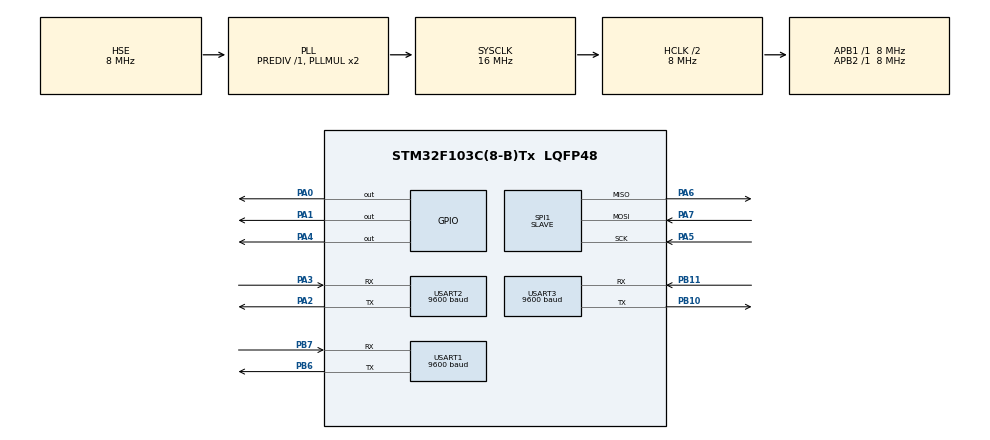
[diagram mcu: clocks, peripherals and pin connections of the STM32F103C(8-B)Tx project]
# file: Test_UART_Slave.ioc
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Mcu.Family=STM32F1
Mcu.Name=STM32F103C(8-B)Tx
Mcu.Package=LQFP48
NVIC.PriorityGroup=NVIC_PRIORITYGROUP_4
NVIC.SPI1_IRQn=true\:0\:0\:false\:false\:true\:true\:true\:true
NVIC.USART1_IRQn=true\:0\:0\:false\:false\:true\:true\:true\:true
NVIC.USART2_IRQn=true\:1\:0\:true\:false\:true\:true\:true\:true
NVIC.USART3_IRQn=true\:2\:0\:true\:false\:true\:true\:true\:true
PA0-WKUP.Signal=GPIO_Output
PA1.Signal=GPIO_Output
PA13.Mode=Serial_Wire
PA13.Signal=SYS_JTMS-SWDIO
PA14.Mode=Serial_Wire
PA14.Signal=SYS_JTCK-SWCLK
PA2.Mode=Asynchronous
PA2.Signal=USART2_TX
PA3.Mode=Asynchronous
PA3.Signal=USART2_RX
PA4.Signal=GPIO_Output
PA5.Mode=Full_Duplex_Slave
PA5.Signal=SPI1_SCK
PA6.Mode=Full_Duplex_Slave
PA6.Signal=SPI1_MISO
PA7.Mode=Full_Duplex_Slave
PA7.Signal=SPI1_MOSI
PB10.Mode=Asynchronous
PB10.Signal=USART3_TX
PB11.Mode=Asynchronous
PB11.Signal=USART3_RX
PB6.Mode=Asynchronous
PB6.Signal=USART1_TX
PB7.Mode=Asynchronous
PB7.Signal=USART1_RX
PD0-OSC_IN.Mode=HSE-External-Oscillator
PD0-OSC_IN.Signal=RCC_OSC_IN
PD1-OSC_OUT.Mode=HSE-External-Oscillator
PD1-OSC_OUT.Signal=RCC_OSC_OUT
ProjectManager.HeapSize=0x200
ProjectManager.StackSize=0x400
ProjectManager.TargetToolchain=STM32CubeIDE
RCC.AHBCLKDivider=RCC_SYSCLK_DIV2
RCC.AHBFreq_Value=8000000
RCC.APB1Freq_Value=8000000
RCC.APB1TimFreq_Value=8000000
RCC.APB2Freq_Value=8000000
RCC.APB2TimFreq_Value=8000000
RCC.HCLKFreq_Value=8000000
RCC.PLLSourceVirtual=RCC_PLLSOURCE_HSE
RCC.SYSCLKFreq_VALUE=16000000
RCC.SYSCLKSource=RCC_SYSCLKSOURCE_PLLCLK
RCC.USBFreq_Value=16000000
SPI1.Direction=SPI_DIRECTION_2LINES
SPI1.Mode=SPI_MODE_SLAVE
SPI1.VirtualType=VM_SLAVE
USART1.BaudRate=9600
USART1.VirtualMode=VM_ASYNC
USART2.BaudRate=9600
USART2.VirtualMode=VM_ASYNC
USART3.BaudRate=9600
USART3.VirtualMode=VM_ASYNC
board=custom

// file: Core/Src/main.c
/* USER CODE BEGIN Header */
/**
 ******************************************************************************
 * @file           : main.c
 * @brief          : Main program body
 ******************************************************************************
 * @attention
 *
 * Copyright (c) 2023 STMicroelectronics.
 * All rights reserved.
 *
 * This software is licensed under terms that can be found in the LICENSE file
 * in the root directory of this software component.
 * If no LICENSE file comes with this software, it is provided AS-IS.
 *
 ******************************************************************************
 */
/* USER CODE END Header */
#include "main.h"

/* USER CODE BEGIN Includes */
uint8_t USART1_RECIEVED_DATA = 255 ;
uint8_t USART2_RECIEVED_DATA = 255 ;
uint8_t USART3_RECIEVED_DATA = 255 ;
uint8_t SPI_Received_Data = 'a' ;

/* USER CODE END Includes */

SPI_HandleTypeDef hspi1;

UART_HandleTypeDef huart1;
UART_HandleTypeDef huart2;
UART_HandleTypeDef huart3;

void SystemClock_Config(void);
static void MX_GPIO_Init(void);
static void MX_USART1_UART_Init(void);
static void MX_USART2_UART_Init(void);
static void MX_USART3_UART_Init(void);
static void MX_SPI1_Init(void);
/* USER CODE BEGIN PFP */
void HAL_UART_RxCpltCallback(UART_HandleTypeDef *huart)
{
	if (huart->Instance == USART1)
	{
		HAL_UART_Receive_IT(&huart1, &USART1_RECIEVED_DATA, 1);
		HAL_GPIO_TogglePin(GPIOA, GPIO_PIN_0);
		HAL_UART_Transmit(&huart1, &USART1_RECIEVED_DATA , 1, 50);
	}
	else if (huart->Instance == USART2)
	{
		HAL_UART_Receive_IT(&huart2, &USART2_RECIEVED_DATA, 1);
		HAL_GPIO_TogglePin(GPIOA, GPIO_PIN_1);
		HAL_UART_Transmit(&huart1, &USART2_RECIEVED_DATA , 1, 50);
	}
	else if (huart->Instance == USART3)
	{
		HAL_UART_Receive_IT(&huart3, &USART3_RECIEVED_DATA, 1);
		HAL_GPIO_TogglePin(GPIOA, GPIO_PIN_4);
		HAL_UART_Transmit(&huart3, &USART3_RECIEVED_DATA , 1, 50);
	}
}
/* USER CODE END PFP */

void HAL_SPI_RxCpltCallback(SPI_HandleTypeDef *hspi)
{
  if (hspi->Instance == SPI1)
  {
	  HAL_SPI_Receive_IT(&hspi1, &SPI_Received_Data, 1);
	  HAL_GPIO_TogglePin(GPIOA, GPIO_PIN_0);
	  HAL_UART_Transmit(&huart1, &SPI_Received_Data , 1, 50);
  }
}

int main(void)
{

  /* MCU Configuration--------------------------------------------------------*/

  /* Reset of all peripherals, Initializes the Flash interface and the Systick. */
  HAL_Init();

  /* Configure the system clock */
  SystemClock_Config();

  /* Initialize all configured peripherals */
  MX_GPIO_Init();
  MX_USART1_UART_Init();
  MX_USART2_UART_Init();
  MX_USART3_UART_Init();
  MX_SPI1_Init();
  HAL_SPI_Receive_IT(&hspi1, &SPI_Received_Data, 1);
  /* Infinite loop */
	while (1)
	{

	}
}

void SystemClock_Config(void)
{
  RCC_OscInitTypeDef RCC_OscInitStruct = {0};
  RCC_ClkInitTypeDef RCC_ClkInitStruct = {0};

  /** Initializes the RCC Oscillators according to the specified parameters
  * in the RCC_OscInitTypeDef structure.
  */
  RCC_OscInitStruct.OscillatorType = RCC_OSCILLATORTYPE_HSE;
  RCC_OscInitStruct.HSEState = RCC_HSE_ON;
  RCC_OscInitStruct.HSEPredivValue = RCC_HSE_PREDIV_DIV1;
  RCC_OscInitStruct.HSIState = RCC_HSI_ON;
  RCC_OscInitStruct.PLL.PLLState = RCC_PLL_ON;
  RCC_OscInitStruct.PLL.PLLSource = RCC_PLLSOURCE_HSE;
  RCC_OscInitStruct.PLL.PLLMUL = RCC_PLL_MUL2;
  if (HAL_RCC_OscConfig(&RCC_OscInitStruct) != HAL_OK)
  {
    Error_Handler();
  }

  /** Initializes the CPU, AHB and APB buses clocks
  */
  RCC_ClkInitStruct.ClockType = RCC_CLOCKTYPE_HCLK|RCC_CLOCKTYPE_SYSCLK
                              |RCC_CLOCKTYPE_PCLK1|RCC_CLOCKTYPE_PCLK2;
  RCC_ClkInitStruct.SYSCLKSource = RCC_SYSCLKSOURCE_PLLCLK;
  RCC_ClkInitStruct.AHBCLKDivider = RCC_SYSCLK_DIV2;
  RCC_ClkInitStruct.APB1CLKDivider = RCC_HCLK_DIV1;
  RCC_ClkInitStruct.APB2CLKDivider = RCC_HCLK_DIV1;

  if (HAL_RCC_ClockConfig(&RCC_ClkInitStruct, FLASH_LATENCY_0) != HAL_OK)
  {
    Error_Handler();
  }
}

static void MX_SPI1_Init(void)
{

  /* SPI1 parameter configuration*/
  hspi1.Instance = SPI1;
  hspi1.Init.Mode = SPI_MODE_SLAVE;
  hspi1.Init.Direction = SPI_DIRECTION_2LINES;
  hspi1.Init.DataSize = SPI_DATASIZE_8BIT;
  hspi1.Init.CLKPolarity = SPI_POLARITY_LOW;
  hspi1.Init.CLKPhase = SPI_PHASE_1EDGE;
  hspi1.Init.NSS = SPI_NSS_SOFT;
  hspi1.Init.FirstBit = SPI_FIRSTBIT_MSB;
  hspi1.Init.TIMode = SPI_TIMODE_DISABLE;
  hspi1.Init.CRCCalculation = SPI_CRCCALCULATION_DISABLE;
  hspi1.Init.CRCPolynomial = 10;
  if (HAL_SPI_Init(&hspi1) != HAL_OK)
  {
    Error_Handler();
  }

}

static void MX_USART1_UART_Init(void)
{

  huart1.Instance = USART1;
  huart1.Init.BaudRate = 9600;
  huart1.Init.WordLength = UART_WORDLENGTH_8B;
  huart1.Init.StopBits = UART_STOPBITS_1;
  huart1.Init.Parity = UART_PARITY_NONE;
  huart1.Init.Mode = UART_MODE_TX_RX;
  huart1.Init.HwFlowCtl = UART_HWCONTROL_NONE;
  huart1.Init.OverSampling = UART_OVERSAMPLING_16;
  if (HAL_UART_Init(&huart1) != HAL_OK)
  {
    Error_Handler();
  }

}

static void MX_USART2_UART_Init(void)
{

  huart2.Instance = USART2;
  huart2.Init.BaudRate = 9600;
  huart2.Init.WordLength = UART_WORDLENGTH_8B;
  huart2.Init.StopBits = UART_STOPBITS_1;
  huart2.Init.Parity = UART_PARITY_NONE;
  huart2.Init.Mode = UART_MODE_TX_RX;
  huart2.Init.HwFlowCtl = UART_HWCONTROL_NONE;
  huart2.Init.OverSampling = UART_OVERSAMPLING_16;
  if (HAL_UART_Init(&huart2) != HAL_OK)
  {
    Error_Handler();
  }

}

static void MX_USART3_UART_Init(void)
{

  huart3.Instance = USART3;
  huart3.Init.BaudRate = 9600;
  huart3.Init.WordLength = UART_WORDLENGTH_8B;
  huart3.Init.StopBits = UART_STOPBITS_1;
  huart3.Init.Parity = UART_PARITY_NONE;
  huart3.Init.Mode = UART_MODE_TX_RX;
  huart3.Init.HwFlowCtl = UART_HWCONTROL_NONE;
  huart3.Init.OverSampling = UART_OVERSAMPLING_16;
  if (HAL_UART_Init(&huart3) != HAL_OK)
  {
    Error_Handler();
  }

}

static void MX_GPIO_Init(void)
{
  GPIO_InitTypeDef GPIO_InitStruct = {0};

  /* GPIO Ports Clock Enable */
  __HAL_RCC_GPIOD_CLK_ENABLE();
  __HAL_RCC_GPIOA_CLK_ENABLE();
  __HAL_RCC_GPIOB_CLK_ENABLE();

  /*Configure GPIO pin Output Level */
  HAL_GPIO_WritePin(GPIOA, GPIO_PIN_0|GPIO_PIN_1|GPIO_PIN_4, GPIO_PIN_RESET);

  /*Configure GPIO pins : PA0 PA1 PA4 */
  GPIO_InitStruct.Pin = GPIO_PIN_0|GPIO_PIN_1|GPIO_PIN_4;
  GPIO_InitStruct.Mode = GPIO_MODE_OUTPUT_PP;
  GPIO_InitStruct.Pull = GPIO_NOPULL;
  GPIO_InitStruct.Speed = GPIO_SPEED_FREQ_LOW;
  HAL_GPIO_Init(GPIOA, &GPIO_InitStruct);

}

void Error_Handler(void)
{
	__disable_irq();
	while (1)
	{
	}
}
